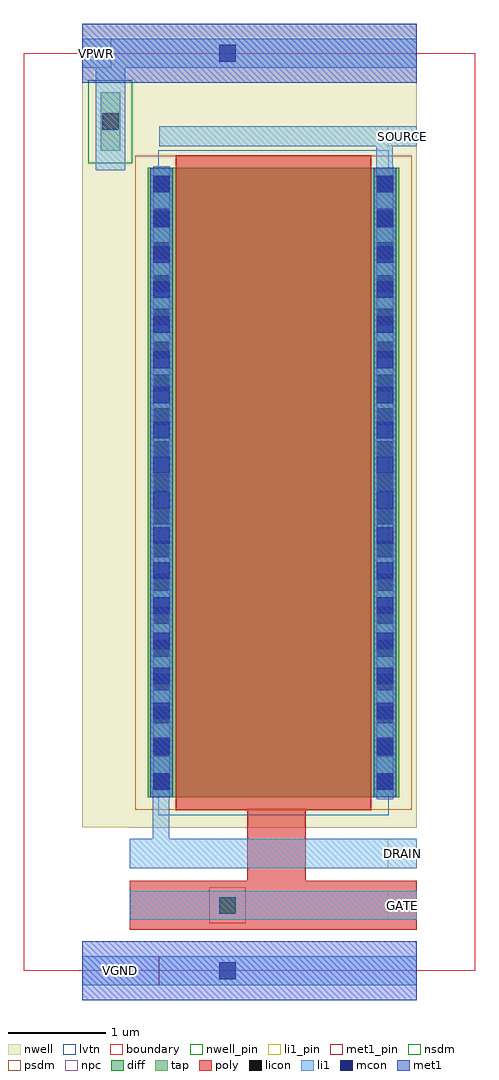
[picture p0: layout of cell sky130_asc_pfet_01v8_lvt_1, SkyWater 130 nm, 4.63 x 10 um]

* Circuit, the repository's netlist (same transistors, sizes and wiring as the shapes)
* NGSPICE file created from sky130_asc_pfet_01v8_lvt_1.ext - technology: sky130A

.subckt sky130_asc_pfet_01v8_lvt_1 GATE SOURCE DRAIN VGND VPWR
X0 SOURCE GATE DRAIN VPWR sky130_fd_pr__pfet_01v8_lvt ad=1.8705e+12p pd=1.348e+07u as=1.8705e+12p ps=1.348e+07u w=6.45e+06u l=2e+06u
.ends

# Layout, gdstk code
import gdstk
lib = gdstk.Library(unit=1e-6, precision=1e-09)
def R(c, l, rs):  # rectangles x0, y0, x1, y1
    for r in rs: c.add(gdstk.rectangle(r[:2], r[2:], *l))
def A(c, l, x, y, w, h, nx, ny, dx, dy):  # array of equal rectangles
    R(c, l, [(x+i*dx, y+j*dy, x+i*dx+w, y+j*dy+h) for i in range(nx) for j in range(ny)])
nwell_pin = (64, 16)
nwell = (64, 20)
diff = (65, 20)
tap = (65, 44)
poly = (66, 20)
licon = (66, 44)
li1_pin = (67, 16)
li1 = (67, 20)
mcon = (67, 44)
met1_pin = (68, 16)
met1 = (68, 20)
nsdm = (93, 44)
psdm = (94, 20)
npc = (95, 20)
lvtn = (125, 44)
boundary = (235, 4)

sky130_asc_pfet_01v8_lvt = lib.new_cell('sky130_asc_pfet_01v8_lvt_1')
R(sky130_asc_pfet_01v8_lvt, nwell_pin, [(0.6,9.25,0.9,9.55)])
R(sky130_asc_pfet_01v8_lvt, nwell, [(1.09,1.465,4.03,1.47), (0.6,1.47,4.03,9.7)])
R(sky130_asc_pfet_01v8_lvt, diff, [(1.27,1.775,3.85,8.225)])
R(sky130_asc_pfet_01v8_lvt, tap, [(0.79,8.4,0.99,9)])
R(sky130_asc_pfet_01v8_lvt, poly, [(1.09,0.42,4.03,0.92), (2.29,0.92,2.89,1.645), (1.56,1.645,3.56,8.355)])
A(sky130_asc_pfet_01v8_lvt, licon, 1.33, 1.855, 0.17, 0.17, 1, 19, 0, 0.34)
A(sky130_asc_pfet_01v8_lvt, licon, 3.62, 1.855, 0.17, 0.17, 1, 19, 0, 0.34)
R(sky130_asc_pfet_01v8_lvt, licon, [(2.005,0.585,2.175,0.755), (0.805,8.615,0.975,8.785)])
R(sky130_asc_pfet_01v8_lvt, li1_pin, [(3.73,0.52,4.03,0.82), (3.73,1.05,4.03,1.35), (3.73,8.45,4.03,8.65)])
R(sky130_asc_pfet_01v8_lvt, li1, [(0.6,-0.15,4.03,0.15), (1.09,0.52,4.03,0.82), (1.09,1.05,4.03,1.35), (1.325,1.35,1.495,1.755), (1.325,1.755,1.5,1.87), (3.62,1.755,3.79,8.13), (1.33,1.87,1.5,8.245), (3.615,8.13,3.79,8.245), (0.74,8.2,1.04,9.25), (3.615,8.245,3.785,8.45), (1.39,8.45,4.03,8.65), (0.6,9.25,4.03,9.55)])
A(sky130_asc_pfet_01v8_lvt, mcon, 1.33, 1.855, 0.17, 0.17, 1, 18, 0, 0.36)
A(sky130_asc_pfet_01v8_lvt, mcon, 3.62, 1.855, 0.17, 0.17, 1, 18, 0, 0.36)
R(sky130_asc_pfet_01v8_lvt, mcon, [(2.005,-0.085,2.175,0.085), (2.005,9.315,2.175,9.485)])
R(sky130_asc_pfet_01v8_lvt, met1_pin, [(0.6,-0.15,1.39,0.15)])
R(sky130_asc_pfet_01v8_lvt, met1, [(0.6,-0.3,4.03,0.3), (1.3,1.775,1.53,8.225), (3.59,1.775,3.82,8.225), (0.6,9.1,4.03,9.7)])
R(sky130_asc_pfet_01v8_lvt, nsdm, [(0.665,8.275,1.115,9.125)])
R(sky130_asc_pfet_01v8_lvt, psdm, [(1.145,1.65,3.975,8.35)])
R(sky130_asc_pfet_01v8_lvt, npc, [(1.905,0.485,2.275,0.855)])
R(sky130_asc_pfet_01v8_lvt, lvtn, [(1.38,1.595,3.74,8.405)])
R(sky130_asc_pfet_01v8_lvt, boundary, [(0,0,4.63,9.4)])
sky130_asc_pfet_01v8_lvt.add(gdstk.Label('GATE', (3.88,0.67), layer=67, texttype=16))
sky130_asc_pfet_01v8_lvt.add(gdstk.Label('SOURCE', (3.88,8.55), layer=67, texttype=16))
sky130_asc_pfet_01v8_lvt.add(gdstk.Label('DRAIN', (3.88,1.2), layer=67, texttype=16))
sky130_asc_pfet_01v8_lvt.add(gdstk.Label('VPWR', (0.75,9.4), layer=64, texttype=16))
sky130_asc_pfet_01v8_lvt.add(gdstk.Label('VGND', (0.995,0), layer=68, texttype=16))

lib.write_gds('sky130_asc_pfet_01v8_lvt_1.gds')
